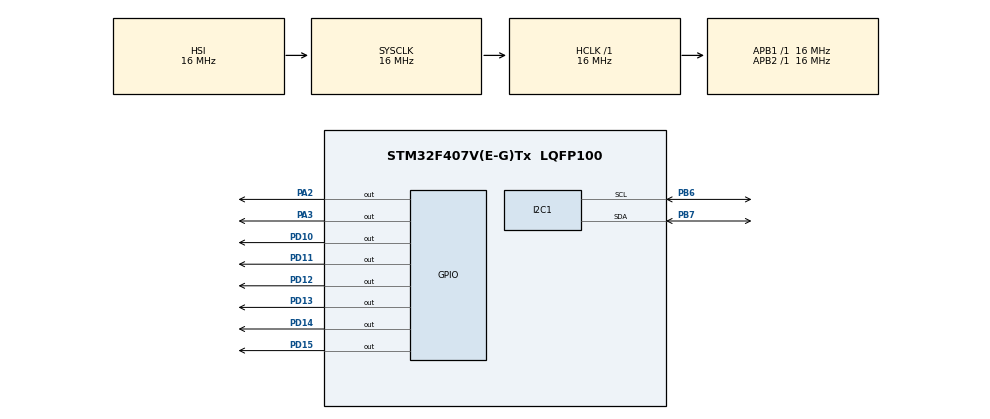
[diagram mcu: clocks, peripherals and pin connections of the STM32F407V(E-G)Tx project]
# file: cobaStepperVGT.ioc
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Mcu.Family=STM32F4
Mcu.Name=STM32F407V(E-G)Tx
Mcu.Package=LQFP100
NVIC.PriorityGroup=NVIC_PRIORITYGROUP_4
PA13.Mode=Serial_Wire
PA13.Signal=SYS_JTMS-SWDIO
PA14.Mode=Serial_Wire
PA14.Signal=SYS_JTCK-SWCLK
PA2.Signal=GPIO_Output
PA3.Signal=GPIO_Output
PB6.Mode=I2C
PB6.Signal=I2C1_SCL
PB7.Mode=I2C
PB7.Signal=I2C1_SDA
PD10.Signal=GPIO_Output
PD11.Signal=GPIO_Output
PD12.Signal=GPIO_Output
PD13.Signal=GPIO_Output
PD14.Signal=GPIO_Output
PD15.Signal=GPIO_Output
PH0-OSC_IN.Mode=HSE-External-Oscillator
PH0-OSC_IN.Signal=RCC_OSC_IN
PH1-OSC_OUT.Mode=HSE-External-Oscillator
PH1-OSC_OUT.Signal=RCC_OSC_OUT
ProjectManager.HeapSize=0x200
ProjectManager.StackSize=0x400
ProjectManager.TargetToolchain=MDK-ARM V5.32
RCC.AHBFreq_Value=16000000
RCC.APB1Freq_Value=16000000
RCC.APB2Freq_Value=16000000
RCC.CortexFreq_Value=16000000
RCC.HSE_VALUE=25000000
RCC.HSI_VALUE=16000000
RCC.LSE_VALUE=32768
RCC.SYSCLKFreq_VALUE=16000000
RCC.VCOOutputFreq_Value=192000000
board=custom

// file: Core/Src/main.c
/* USER CODE BEGIN Header */
/**
  ******************************************************************************
  * @file           : main.c
  * @brief          : Main program body
  ******************************************************************************
  * @attention
  *
  * Copyright (c) 2023 STMicroelectronics.
  * All rights reserved.
  *
  * This software is licensed under terms that can be found in the LICENSE file
  * in the root directory of this software component.
  * If no LICENSE file comes with this software, it is provided AS-IS.
  *
  ******************************************************************************
  */
/* USER CODE END Header */
#include "main.h"

/* USER CODE BEGIN Includes */
#include "TJ_MPU6050.h"
#include "ds1307_for_stm32_hal.h"
#include "math.h"
#include "i2c-lcd.h"
#include "stdio.h"
/* USER CODE END Includes */

I2C_HandleTypeDef hi2c1;

/* USER CODE BEGIN PV */
RawData_Def myRawAccel;
ScaledData_Def myScaledAccel;
float roll; //roll=rotasi x
float pitch;

//float jadwal[7][2]= {
//    {9, -129.84},
//    {10, -144.14},
//    {11, -167.33},
//    {12, 163.63},
//    {13, 142.87},
//    {14, 128.23},
//    {15, 120.31}
//};

float jadwal[7][2]= {
    {9, -129.84},
    {10, -144.14},
    {11, -167.33},
    {12, 163.63},
    {13, 142.87},
    {14, 128.23},
    {15, 120.31}
};

uint8_t jam, menit, detik, i;
float setpoint_sudut, delta_sudut;

char buffer[50];
unsigned long prev_time;
/* USER CODE END PV */

void SystemClock_Config(void);
static void MX_GPIO_Init(void);
static void MX_I2C1_Init(void);

int main(void)
{
    /* USER CODE BEGIN 1 */
    MPU_ConfigTypeDef myMpuConfig;

    /* USER CODE END 1 */

    /* MCU Configuration--------------------------------------------------------*/

    /* Reset of all peripherals, Initializes the Flash interface and the Systick. */
    HAL_Init();

    /* Configure the system clock */
    SystemClock_Config();

    /* USER CODE BEGIN SysInit */
	void stepper_CCW(void);
	void stepper_CW(void);
	void printLCD(void);

    /* USER CODE END SysInit */

    /* Initialize all configured peripherals */
    MX_GPIO_Init();
    MX_I2C1_Init();
    /* USER CODE BEGIN 2 */
    //INISIALISASI MPU050
    //1. Initialise the MPU6050 module and I2C
    MPU6050_Init(&hi2c1);
    //2. Configure Accel and Gyro parameters
    myMpuConfig.Accel_Full_Scale = AFS_SEL_4g;
    myMpuConfig.ClockSource = Internal_8MHz;
    myMpuConfig.CONFIG_DLPF = DLPF_184A_188G_Hz;
    myMpuConfig.Gyro_Full_Scale = FS_SEL_500;
    myMpuConfig.Sleep_Mode_Bit = 0;  //1: sleep mode, 0: normal mode
    MPU6050_Config(&myMpuConfig);

    //INISIALISASI DS1307
    DS1307_Init(&hi2c1);

    /* Lookup table for the days of week. */
    const char *DAYS_OF_WEEK[7] = { "Sunday", "Monday", "Tuesday", "Wednesday", "Thursday", "Friday", "Saturday" };
    /* Start DS1307 timing. Pass user I2C handle pointer to function. */
    DS1307_Init(&hi2c1);
    HAL_Delay(200);

    //setting waktu jika diperlukan
//	DS1307_SetHour(16);
//	DS1307_SetMinute(19);
//	DS1307_SetSecond(25);

//    jam = DS1307_GetHour();
//    menit= DS1307_GetMinute();
//    detik= DS1307_GetSecond();

    //INISIALISASI LCD
	//LCD
	HAL_Delay(50);
	lcd_init();
	HAL_Delay(50);

	lcd_clear();
	lcd_send_cmd(0x80|0x00);//  lcd_setCursor(0,0);
	int printLen = snprintf((char*)buffer, 50, "Voltage Unbalance");
	lcd_send_string((char*)buffer);
	HAL_Delay(1000);

    /* USER CODE END 2 */

    /* Infinite loop */
    while (1)
    {

        /* USER CODE BEGIN 3 */

		HAL_Delay(10);
		jam = DS1307_GetHour();
		menit= DS1307_GetMinute();
		detik= DS1307_GetSecond();

		HAL_Delay(10);
		if((HAL_GetTick()-prev_time) > 1000){
			printLCD();
			prev_time = HAL_GetTick();
		}
		HAL_Delay(10);
        //BACA IMU
		//ACCELERO READ
		MPU6050_Get_Accel_Scale(&myScaledAccel);
		roll = (atan2(myScaledAccel.y, myScaledAccel.z)*180.0)/3.14; // rotasi pada sumbu x

		switch(jam){
			case 9:
				setpoint_sudut = 129.84;
				break;
			case 10:
				setpoint_sudut = -144;
				break;
			case 11:
				setpoint_sudut = -167;
				break;
			case 12:

				setpoint_sudut = 163;
				break;
			case 13:
				setpoint_sudut = 142;
				break;
			case 14:
				setpoint_sudut = 128;
				break;
			case 15:
				setpoint_sudut = -120;
				break;
			default:
				setpoint_sudut = -120;
				break;
		}
		delta_sudut = setpoint_sudut - roll;

		if((jam ==12|jam==13|jam==14|jam==15) && (roll <0)){
			stepper_CW();
		}else if ((jam ==9|jam==10|jam==11)&& (roll >0)){
			stepper_CCW();
		}else{
			if(fabs(delta_sudut)>4){
				if(delta_sudut>0){
					stepper_CCW();
				}else{
					stepper_CW();
				}
			}
		}
		HAL_Delay(10);
//        HAL_GPIO_WritePin(GPIOD, GPIO_PIN_13, 0);
//        for(int i=0; i<200; i++) {
//            HAL_GPIO_WritePin(GPIOD, GPIO_PIN_12, 1);
//            HAL_Delay(2);
//            HAL_GPIO_WritePin(GPIOD, GPIO_PIN_12, 0);
//            HAL_Delay(2);
//        }

//		//BACA RTC
//		jam = DS1307_GetHour();
//        float errorSudut = sudutJadwal - roll;

//		//CARI JADWAL BERDASARKAN JAM
//        int panjangJadwal = sizeof(jadwal)/sizeof(jadwal[0]);
//        for(int i=0; i<panjangJadwal; i++) {
//            if(jam == jadwal[i][0]) {
//                sudutJadwal = jadwal[i][1];
//                break;
//            }
//        }

//        errorSudut = sudutJadwal - roll;
//        while((errorSudut>sudutJadwal+2) ) {
//        }
    }
    /* USER CODE END 3 */
}

void SystemClock_Config(void)
{
    RCC_OscInitTypeDef RCC_OscInitStruct = {0};
    RCC_ClkInitTypeDef RCC_ClkInitStruct = {0};

    /** Configure the main internal regulator output voltage
    */
    __HAL_RCC_PWR_CLK_ENABLE();
    __HAL_PWR_VOLTAGESCALING_CONFIG(PWR_REGULATOR_VOLTAGE_SCALE1);

    /** Initializes the RCC Oscillators according to the specified parameters
    * in the RCC_OscInitTypeDef structure.
    */
    RCC_OscInitStruct.OscillatorType = RCC_OSCILLATORTYPE_HSI;
    RCC_OscInitStruct.HSIState = RCC_HSI_ON;
    RCC_OscInitStruct.HSICalibrationValue = RCC_HSICALIBRATION_DEFAULT;
    RCC_OscInitStruct.PLL.PLLState = RCC_PLL_NONE;
    if (HAL_RCC_OscConfig(&RCC_OscInitStruct) != HAL_OK)
    {
        Error_Handler();
    }

    /** Initializes the CPU, AHB and APB buses clocks
    */
    RCC_ClkInitStruct.ClockType = RCC_CLOCKTYPE_HCLK|RCC_CLOCKTYPE_SYSCLK
                                  |RCC_CLOCKTYPE_PCLK1|RCC_CLOCKTYPE_PCLK2;
    RCC_ClkInitStruct.SYSCLKSource = RCC_SYSCLKSOURCE_HSI;
    RCC_ClkInitStruct.AHBCLKDivider = RCC_SYSCLK_DIV1;
    RCC_ClkInitStruct.APB1CLKDivider = RCC_HCLK_DIV1;
    RCC_ClkInitStruct.APB2CLKDivider = RCC_HCLK_DIV1;

    if (HAL_RCC_ClockConfig(&RCC_ClkInitStruct, FLASH_LATENCY_0) != HAL_OK)
    {
        Error_Handler();
    }
}

static void MX_I2C1_Init(void)
{

    hi2c1.Instance = I2C1;
    hi2c1.Init.ClockSpeed = 100000;
    hi2c1.Init.DutyCycle = I2C_DUTYCYCLE_2;
    hi2c1.Init.OwnAddress1 = 0;
    hi2c1.Init.AddressingMode = I2C_ADDRESSINGMODE_7BIT;
    hi2c1.Init.DualAddressMode = I2C_DUALADDRESS_DISABLE;
    hi2c1.Init.OwnAddress2 = 0;
    hi2c1.Init.GeneralCallMode = I2C_GENERALCALL_DISABLE;
    hi2c1.Init.NoStretchMode = I2C_NOSTRETCH_DISABLE;
    if (HAL_I2C_Init(&hi2c1) != HAL_OK)
    {
        Error_Handler();
    }

}

static void MX_GPIO_Init(void)
{
    GPIO_InitTypeDef GPIO_InitStruct = {0};

    /* GPIO Ports Clock Enable */
    __HAL_RCC_GPIOH_CLK_ENABLE();
    __HAL_RCC_GPIOA_CLK_ENABLE();
    __HAL_RCC_GPIOD_CLK_ENABLE();
    __HAL_RCC_GPIOB_CLK_ENABLE();

    /*Configure GPIO pin Output Level */
    HAL_GPIO_WritePin(GPIOA, GPIO_PIN_2|GPIO_PIN_3, GPIO_PIN_RESET);

    /*Configure GPIO pin Output Level */
    HAL_GPIO_WritePin(GPIOD, GPIO_PIN_10|GPIO_PIN_11|GPIO_PIN_12|GPIO_PIN_13
                      |GPIO_PIN_14|GPIO_PIN_15, GPIO_PIN_RESET);

    /*Configure GPIO pins : PA2 PA3 */
    GPIO_InitStruct.Pin = GPIO_PIN_2|GPIO_PIN_3;
    GPIO_InitStruct.Mode = GPIO_MODE_OUTPUT_PP;
    GPIO_InitStruct.Pull = GPIO_NOPULL;
    GPIO_InitStruct.Speed = GPIO_SPEED_FREQ_LOW;
    HAL_GPIO_Init(GPIOA, &GPIO_InitStruct);

    /*Configure GPIO pins : PD10 PD11 PD12 PD13
                             PD14 PD15 */
    GPIO_InitStruct.Pin = GPIO_PIN_10|GPIO_PIN_11|GPIO_PIN_12|GPIO_PIN_13
                          |GPIO_PIN_14|GPIO_PIN_15;
    GPIO_InitStruct.Mode = GPIO_MODE_OUTPUT_PP;
    GPIO_InitStruct.Pull = GPIO_NOPULL;
    GPIO_InitStruct.Speed = GPIO_SPEED_FREQ_LOW;
    HAL_GPIO_Init(GPIOD, &GPIO_InitStruct);

}

/* USER CODE BEGIN 4 */
void stepper_CW() {
    HAL_GPIO_WritePin(GPIOD, GPIO_PIN_13, 1);
    HAL_GPIO_WritePin(GPIOD, GPIO_PIN_12, 1);
    HAL_Delay(2);
    HAL_GPIO_WritePin(GPIOD, GPIO_PIN_12, 0);
    HAL_Delay(2);
}

void stepper_CCW() {
    HAL_GPIO_WritePin(GPIOD, GPIO_PIN_13, 0);
    HAL_GPIO_WritePin(GPIOD, GPIO_PIN_12, 1);
    HAL_Delay(2);
    HAL_GPIO_WritePin(GPIOD, GPIO_PIN_12, 0);
    HAL_Delay(2);
}

void printLCD(){
	int printLen;
	lcd_clear();
	lcd_send_cmd(0x80|0x00);//  lcd_setCursor(0,0);
	printLen = snprintf((char*)buffer, 50, "waktu: %d:%d:%d", jam, menit, detik);
	lcd_send_string((char*)buffer);

	lcd_send_cmd(0x80|0x40);//  lcd_setCursor(0,1);
	printLen = snprintf((char*)buffer, 50, "sudut targegt:%f", setpoint_sudut);
	lcd_send_string((char*)buffer);

	lcd_send_cmd(0x80|0x14);//	lcd_setCursor(0,2);
	printLen = snprintf((char*)buffer, 50, "sudut: %f", roll);
  lcd_send_string((char*)buffer);

	lcd_send_cmd(0x80|0x54);//	lcd_setCursor(0,3);
	printLen = snprintf((char*)buffer, 50, "test4");
  lcd_send_string((char*)buffer);
}

/* USER CODE END 4 */

void Error_Handler(void)
{
    __disable_irq();
    while (1)
    {
    }
}
